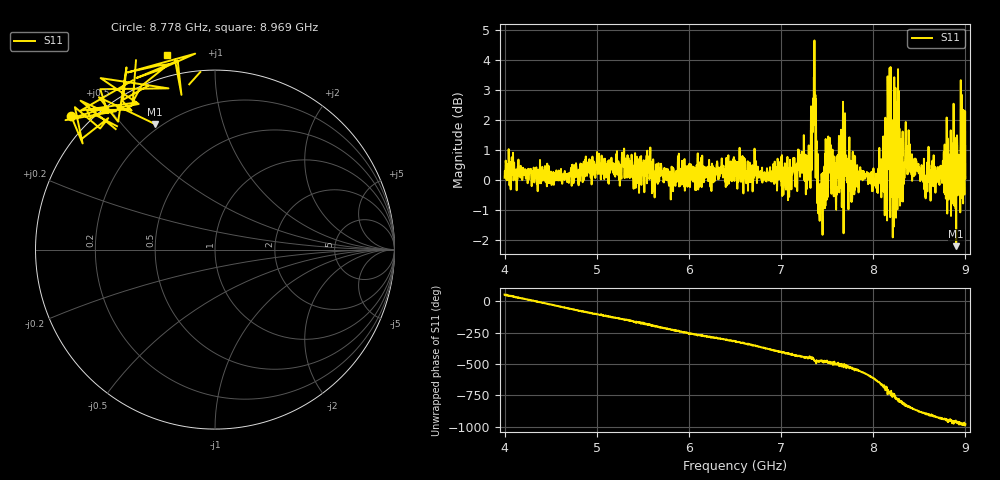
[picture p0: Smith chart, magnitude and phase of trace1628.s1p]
! Created with skrf 1.8.0 (http://scikit-rf.org).
# Hz S RI R 50.0
!freq ReS11 ImS11
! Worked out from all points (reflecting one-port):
!   1601 points, 4 GHz to 9 GHz, reference 50 ohm
!   lowest |S11| = -2.2 dB at 8.9 GHz (marker M1), VSWR 7.88, Z = 8.82 + j30.8 ohm
!   phase of S11 starts at 54 deg and turns -1036 deg over the sweep
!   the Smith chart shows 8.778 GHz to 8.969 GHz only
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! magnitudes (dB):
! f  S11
! 4 GHz  0.1
! 4.625 GHz  -0.1
! 5.25 GHz  -0.2
! 5.875 GHz  0.1
! 6.5 GHz  0.6
! 7.097 GHz  0.7
! 7.125 GHz  0.4
! 7.294 GHz  0.0
! 7.319 GHz  -0.3
! 7.347 GHz  2.7
! 7.362 GHz  4.6
! 7.4 GHz  0.9
! 7.428 GHz  -0.3
! 7.509 GHz  0.3
! 7.591 GHz  0.6
! 7.669 GHz  0.7
! 7.75 GHz  -0.3
! 8.103 GHz  0.0
! 8.178 GHz  3.7
! 8.209 GHz  1.4
! 8.238 GHz  0.4
! 8.253 GHz  0.1
! 8.312 GHz  1.4
! 8.375 GHz  0.2
! 8.556 GHz  -0.3
! 8.9 GHz  -2.2
! 8.972 GHz  0.4
! 9 GHz  0.0
